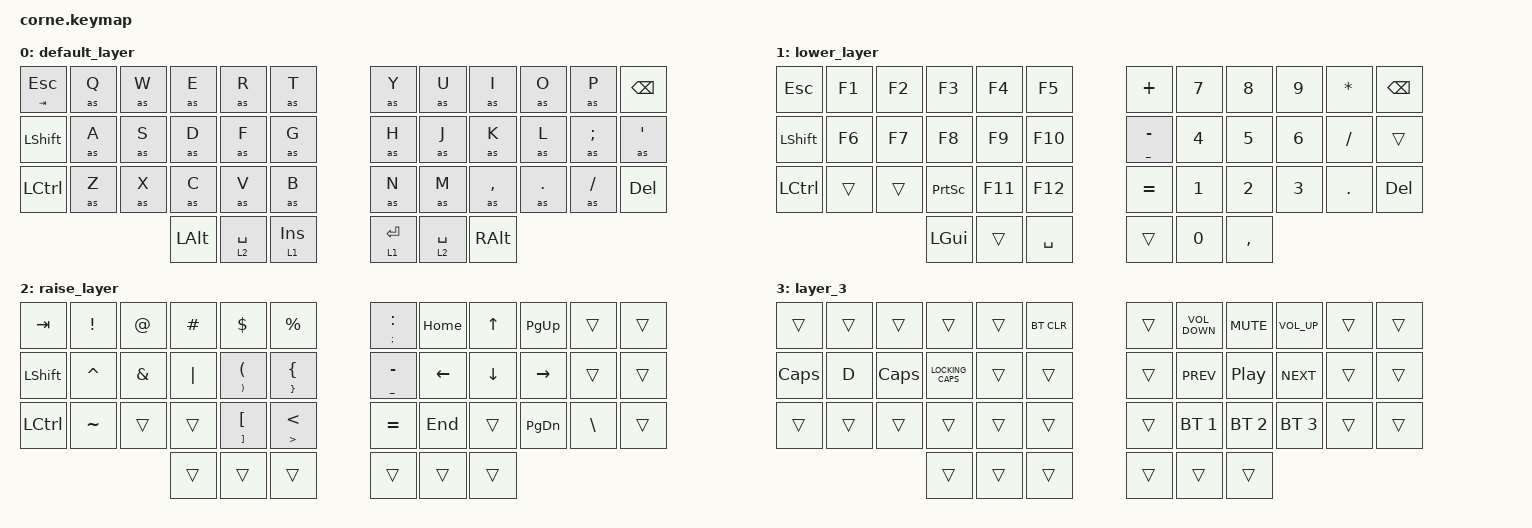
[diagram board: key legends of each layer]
/*
 * Copyright (c) 2020 The ZMK Contributors
 *
 * SPDX-License-Identifier: MIT
 */

#include <behaviors.dtsi>
#include <dt-bindings/zmk/bt.h>
#include <dt-bindings/zmk/keys.h>

/ {
    behaviors {
        pht: positional_hold_tap {
            compatible = "zmk,behavior-hold-tap";
            #binding-cells = <2>;
            flavor = "tap-preferred";
            tapping-term-ms = <300>;
            bindings = <&kp>, <&kp>;

            // <---[[the W key]]
        };

        as_ht: autoshift_hold_tap {
            compatible = "zmk,behavior-hold-tap";
            label = "AUTOSHIFT_HOLD_TAP";
            #binding-cells = <2>;
            tapping-term-ms = <300>;
            bindings = <&shifted>, <&kp>;

            flavor = "tap-preferred";
        };
    };

    macros {
        shifted: macro_shifted_kp {
            #binding-cells = <1>;
            label = "MACRO_SHIFTED_KP";
            compatible = "zmk,behavior-macro-one-param";
            bindings =
                <&macro_press>,
                <&kp LSHFT &macro_param_1to1>,
                <&macro_tap>,
                <&kp MACRO_PLACEHOLDER>,
                <&macro_release>,
                <&kp LSHFT>;
        };

        as: autoshift {
            compatible = "zmk,behavior-macro-one-param";
            #binding-cells = <1>;
            label = "AUTOSHIFT_KP";
            bindings =
                <&macro_press>,
                <&macro_param_1to1 &macro_param_1to2 &as_ht MACRO_PLACEHOLDER MACRO_PLACEHOLDER>,
                <&macro_pause_for_release>,
                <&macro_release>,
                <&macro_param_1to1 &macro_param_1to2 &as_ht MACRO_PLACEHOLDER MACRO_PLACEHOLDER>;
        };
    };

    combos {
        compatible = "zmk,combos";

        gui {
            bindings = <&kp LEFT_GUI>;
            key-positions = <36 41>;
        };

        layer3 {
            bindings = <&sl 3>;
            key-positions = <40 37>;
        };
    };

    keymap {
        compatible = "zmk,keymap";

        default_layer {
            // -----------------------------------------------------------------------------------------
            // |  TAB |  Q  |  W  |  E  |  R  |  T  |   |  Y  |  U   |  I  |  O  |  P  | BKSP |
            // | CTRL |  A  |  S  |  D  |  F  |  G  |   |  H  |  J   |  K  |  L  |  ;  |  '   |
            // | SHFT |  Z  |  X  |  C  |  V  |  B  |   |  N  |  M   |  ,  |  .  |  /  | ESC  |
            //                    | GUI | LWR | SPC |   | ENT | RSE  | ALT |

            bindings = <
&pht TAB ESCAPE  &as Q  &as W  &as E         &as R        &as T        &as Y      &as U        &as I      &as O    &as P     &kp BSPC
&kp LEFT_SHIFT   &as A  &as S  &as D         &as F        &as G        &as H      &as J        &as K      &as L    &as SEMI  &as SQT
&kp LCTRL        &as Z  &as X  &as C         &as V        &as B        &as N      &as M        &as COMMA  &as DOT  &as FSLH  &kp DELETE
                               &kp LEFT_ALT  &lt 2 SPACE  &lt 1 INS    &lt 1 RET  &lt 2 SPACE  &kp RALT
            >;
        };

        lower_layer {
            // -----------------------------------------------------------------------------------------
            // |  TAB |  1  |  2  |  3  |  4  |  5  |   |  6  |  7  |  8  |  9  |  0  | BKSP |
            // | BTCLR| BT1 | BT2 | BT3 | BT4 | BT5 |   | LFT | DWN |  UP | RGT |     |      |
            // | SHFT |     |     |     |     |     |   |     |     |     |     |     |      |
            //                    | GUI |     | SPC |   | ENT |     | ALT |

            bindings = <
&kp ESCAPE        &kp F1  &kp F2  &kp F3           &kp F4   &kp F5       &kp PLUS          &kp N7        &kp N8        &kp N9        &kp ASTERISK  &kp BACKSPACE
&kp LEFT_SHIFT    &kp F6  &kp F7  &kp F8           &kp F9   &kp F10      &pht UNDER MINUS  &kp NUMBER_4  &kp N5        &kp NUMBER_6  &kp SLASH     &trans
&kp LEFT_CONTROL  &trans  &trans  &kp PRINTSCREEN  &kp F11  &kp F12      &kp EQUAL         &kp NUMBER_1  &kp NUMBER_2  &kp NUMBER_3  &kp DOT       &kp DELETE
                                  &kp LGUI         &trans   &kp SPACE    &trans            &kp N0        &kp COMMA
            >;
        };

        raise_layer {
            // -----------------------------------------------------------------------------------------
            // |  TAB |  !  |  @  |  #  |  $  |  %  |   |  ^  |  &  |  *  |  (  |  )  | BKSP |
            // | CTRL |     |     |     |     |     |   |  -  |  =  |  [  |  ]  |  \  |  `   |
            // | SHFT |     |     |     |     |     |   |  _  |  +  |  {  |  }  | "|" |  ~   |
            //                    | GUI |     | SPC |   | ENT |     | ALT |

            bindings = <
&kp TAB           &kp EXCL   &kp AT    &kp HASH  &kp DLLR                                 &kp PRCNT                      &pht SEMICOLON COLON  &kp HOME  &kp UP_ARROW    &kp PAGE_UP    &trans         &trans
&kp LEFT_SHIFT    &kp CARET  &kp AMPS  &kp PIPE  &pht RIGHT_PARENTHESIS LEFT_PARENTHESIS  &pht RIGHT_BRACE LEFT_BRACE    &pht UNDER MINUS      &kp LEFT  &kp DOWN_ARROW  &kp RIGHT      &trans         &trans
&kp LEFT_CONTROL  &kp TILDE  &trans    &trans    &pht RIGHT_BRACKET LEFT_BRACKET          &pht GREATER_THAN LESS_THAN    &kp EQUAL             &kp END   &trans          &kp PAGE_DOWN  &kp BACKSLASH  &trans
                                       &trans    &trans                                   &trans                         &trans                &trans    &trans
            >;
        };

        layer_3 {
            bindings = <
&trans    &trans  &trans    &trans            &trans  &bt BT_CLR    &trans  &kp C_VOLUME_DOWN  &kp K_MUTE        &kp C_VOLUME_UP  &trans  &trans
&kp CAPS  &kp D   &kp CLCK  &kp LOCKING_CAPS  &trans  &trans        &trans  &kp C_PREV         &kp C_PLAY_PAUSE  &kp C_NEXT       &trans  &trans
&trans    &trans  &trans    &trans            &trans  &trans        &trans  &bt BT_SEL 1       &bt BT_SEL 2      &bt BT_SEL 3     &trans  &trans
                            &trans            &trans  &trans        &trans  &trans             &trans
            >;
        };
    };
};
